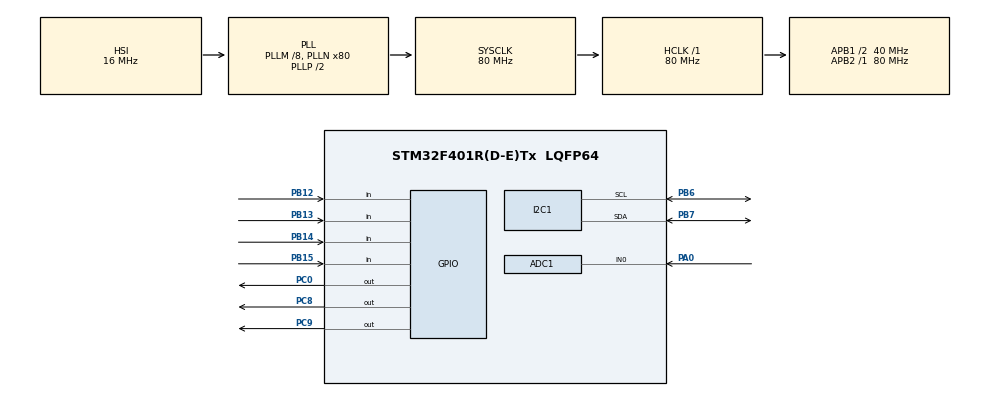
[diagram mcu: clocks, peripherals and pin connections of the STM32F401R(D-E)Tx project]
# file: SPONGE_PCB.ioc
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ADC1.Channel-1\#ChannelRegularConversion=ADC_CHANNEL_0
ADC1.NbrOfConversionFlag=1
ADC1.Rank-1\#ChannelRegularConversion=1
ADC1.SamplingTime-1\#ChannelRegularConversion=ADC_SAMPLETIME_3CYCLES
ADC1.master=1
I2C1.I2C_Mode=I2C_Fast
I2C1.NoStretchMode=I2C_NOSTRETCH_DISABLE
I2C1.OwnAddress=0x05
Mcu.Family=STM32F4
Mcu.Name=STM32F401R(D-E)Tx
Mcu.Package=LQFP64
NVIC.I2C1_ER_IRQn=true\:0\:0\:false\:false\:true\:true\:true\:true
NVIC.I2C1_EV_IRQn=true\:0\:0\:false\:false\:true\:true\:true\:true
NVIC.PriorityGroup=NVIC_PRIORITYGROUP_4
PA0-WKUP.Signal=ADCx_IN0
PA10.Signal=USART1_RX
PA13.Mode=Serial_Wire
PA13.Signal=SYS_JTMS-SWDIO
PA14.Mode=Serial_Wire
PA14.Signal=SYS_JTCK-SWCLK
PA9.Signal=USART1_TX
PB12.GPIO_PuPd=GPIO_PULLDOWN
PB12.Signal=GPIO_Input
PB13.GPIO_PuPd=GPIO_PULLDOWN
PB13.Signal=GPIO_Input
PB14.GPIO_PuPd=GPIO_PULLDOWN
PB14.Signal=GPIO_Input
PB15.GPIO_PuPd=GPIO_PULLDOWN
PB15.Signal=GPIO_Input
PB6.Mode=I2C
PB6.Signal=I2C1_SCL
PB7.Mode=I2C
PB7.Signal=I2C1_SDA
PC0.Signal=GPIO_Output
PC8.Signal=GPIO_Output
PC9.Signal=GPIO_Output
ProjectManager.HeapSize=0x200
ProjectManager.StackSize=0x400
ProjectManager.TargetToolchain=STM32CubeIDE
RCC.48MHZClocksFreq_Value=40000000
RCC.AHBFreq_Value=80000000
RCC.APB1CLKDivider=RCC_HCLK_DIV2
RCC.APB1Freq_Value=40000000
RCC.APB1TimFreq_Value=80000000
RCC.APB2Freq_Value=80000000
RCC.APB2TimFreq_Value=80000000
RCC.CortexFreq_Value=80000000
RCC.HCLKFreq_Value=80000000
RCC.HSE_VALUE=25000000
RCC.HSI_VALUE=16000000
RCC.LSE_VALUE=32768
RCC.PLLM=8
RCC.PLLN=80
RCC.SYSCLKFreq_VALUE=80000000
RCC.SYSCLKSource=RCC_SYSCLKSOURCE_PLLCLK
RCC.VCOOutputFreq_Value=160000000
SH.ADCx_IN0.0=ADC1_IN0,IN0
board=custom

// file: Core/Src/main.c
/* USER CODE BEGIN Header */
/**
  ******************************************************************************
  * @file           : main.c
  * @brief          : Main program body
  ******************************************************************************
  * @attention
  *
  * Copyright (c) 2023 STMicroelectronics.
  * All rights reserved.
  *
  * This software is licensed under terms that can be found in the LICENSE file
  * in the root directory of this software component.
  * If no LICENSE file comes with this software, it is provided AS-IS.
  *
  ******************************************************************************
  */
/* USER CODE END Header */
#include "main.h"

/* USER CODE BEGIN Includes */
#include "i2c/i2c_slave.h"
/* USER CODE END Includes */

ADC_HandleTypeDef hadc1;

I2C_HandleTypeDef hi2c1;

void SystemClock_Config(void);
static void MX_GPIO_Init(void);
static void MX_ADC1_Init(void);
static void MX_I2C1_Init(void);
/* USER CODE BEGIN PFP */

void i2c_rx_callback(uint8_t* buf, uint8_t num_bytes);
/* USER CODE END PFP */

/* USER CODE BEGIN 0 */
I2C_Slave i2c;
uint8_t addr_bits[4] = {0};
uint16_t adc_value;
/* USER CODE END 0 */

int main(void)
{

  /* MCU Configuration--------------------------------------------------------*/

  /* Reset of all peripherals, Initializes the Flash interface and the Systick. */
  HAL_Init();

  /* Configure the system clock */
  SystemClock_Config();

  /* Initialize all configured peripherals */
  MX_GPIO_Init();
  MX_ADC1_Init();
  MX_I2C1_Init();
  /* USER CODE BEGIN 2 */
  // read i2c address pins
  addr_bits[0]= HAL_GPIO_ReadPin(GPIOB,GPIO_PIN_12);
  addr_bits[1]= HAL_GPIO_ReadPin(GPIOB,GPIO_PIN_13);
  addr_bits[2]= HAL_GPIO_ReadPin(GPIOB,GPIO_PIN_14);
  addr_bits[3]= HAL_GPIO_ReadPin(GPIOB,GPIO_PIN_15);
  //set address
  i2c.address = (addr_bits[3]<<3) + (addr_bits[2]<<2) + (addr_bits[1]<<1) + (addr_bits[0]);
  i2c.rxCallback = i2c_rx_callback;
  i2c.hi2c = &hi2c1;
  //initialize and start i2c
  i2c_slave_init(&i2c);
  i2c_slave_start(&i2c);

  /* USER CODE END 2 */

  /* Infinite loop */
  /* USER CODE BEGIN WHILE */
  while (1)
  {
	  HAL_ADC_Start(&hadc1); // start ADC
	  HAL_ADC_PollForConversion(&hadc1, 100); //Wait till ADC converted value
	  adc_value = HAL_ADC_GetValue(&hadc1); // store value
	  HAL_ADC_Stop(&hadc1); //stop ADC

	  i2c.sendBuffer[0]= adc_value & 0xFF; //buffer lower lower byte
	  i2c.sendBuffer[1]= adc_value >> 8; //buffer upper byte

	  //i2c.sendBuffer[0]= 5; //buffer lower lower byte
	  //i2c.sendBuffer[1]= 6; //buffer upper byte

	  //HAL_Delay(100);

    /* USER CODE END WHILE */

  }
}

void SystemClock_Config(void)
{
  RCC_OscInitTypeDef RCC_OscInitStruct = {0};
  RCC_ClkInitTypeDef RCC_ClkInitStruct = {0};

  /** Configure the main internal regulator output voltage
  */
  __HAL_RCC_PWR_CLK_ENABLE();
  __HAL_PWR_VOLTAGESCALING_CONFIG(PWR_REGULATOR_VOLTAGE_SCALE2);

  /** Initializes the RCC Oscillators according to the specified parameters
  * in the RCC_OscInitTypeDef structure.
  */
  RCC_OscInitStruct.OscillatorType = RCC_OSCILLATORTYPE_HSI;
  RCC_OscInitStruct.HSIState = RCC_HSI_ON;
  RCC_OscInitStruct.HSICalibrationValue = RCC_HSICALIBRATION_DEFAULT;
  RCC_OscInitStruct.PLL.PLLState = RCC_PLL_ON;
  RCC_OscInitStruct.PLL.PLLSource = RCC_PLLSOURCE_HSI;
  RCC_OscInitStruct.PLL.PLLM = 8;
  RCC_OscInitStruct.PLL.PLLN = 80;
  RCC_OscInitStruct.PLL.PLLP = RCC_PLLP_DIV2;
  RCC_OscInitStruct.PLL.PLLQ = 4;
  if (HAL_RCC_OscConfig(&RCC_OscInitStruct) != HAL_OK)
  {
    Error_Handler();
  }

  /** Initializes the CPU, AHB and APB buses clocks
  */
  RCC_ClkInitStruct.ClockType = RCC_CLOCKTYPE_HCLK|RCC_CLOCKTYPE_SYSCLK
                              |RCC_CLOCKTYPE_PCLK1|RCC_CLOCKTYPE_PCLK2;
  RCC_ClkInitStruct.SYSCLKSource = RCC_SYSCLKSOURCE_PLLCLK;
  RCC_ClkInitStruct.AHBCLKDivider = RCC_SYSCLK_DIV1;
  RCC_ClkInitStruct.APB1CLKDivider = RCC_HCLK_DIV2;
  RCC_ClkInitStruct.APB2CLKDivider = RCC_HCLK_DIV1;

  if (HAL_RCC_ClockConfig(&RCC_ClkInitStruct, FLASH_LATENCY_2) != HAL_OK)
  {
    Error_Handler();
  }
}

static void MX_ADC1_Init(void)
{

  ADC_ChannelConfTypeDef sConfig = {0};

  /** Configure the global features of the ADC (Clock, Resolution, Data Alignment and number of conversion)
  */
  hadc1.Instance = ADC1;
  hadc1.Init.ClockPrescaler = ADC_CLOCK_SYNC_PCLK_DIV4;
  hadc1.Init.Resolution = ADC_RESOLUTION_12B;
  hadc1.Init.ScanConvMode = DISABLE;
  hadc1.Init.ContinuousConvMode = DISABLE;
  hadc1.Init.DiscontinuousConvMode = DISABLE;
  hadc1.Init.ExternalTrigConvEdge = ADC_EXTERNALTRIGCONVEDGE_NONE;
  hadc1.Init.ExternalTrigConv = ADC_SOFTWARE_START;
  hadc1.Init.DataAlign = ADC_DATAALIGN_RIGHT;
  hadc1.Init.NbrOfConversion = 1;
  hadc1.Init.DMAContinuousRequests = DISABLE;
  hadc1.Init.EOCSelection = ADC_EOC_SINGLE_CONV;
  if (HAL_ADC_Init(&hadc1) != HAL_OK)
  {
    Error_Handler();
  }

  /** Configure for the selected ADC regular channel its corresponding rank in the sequencer and its sample time.
  */
  sConfig.Channel = ADC_CHANNEL_0;
  sConfig.Rank = 1;
  sConfig.SamplingTime = ADC_SAMPLETIME_3CYCLES;
  if (HAL_ADC_ConfigChannel(&hadc1, &sConfig) != HAL_OK)
  {
    Error_Handler();
  }

}

static void MX_I2C1_Init(void)
{

  hi2c1.Instance = I2C1;
  hi2c1.Init.ClockSpeed = 400000;
  hi2c1.Init.DutyCycle = I2C_DUTYCYCLE_2;
  hi2c1.Init.OwnAddress1 = 10;
  hi2c1.Init.AddressingMode = I2C_ADDRESSINGMODE_7BIT;
  hi2c1.Init.DualAddressMode = I2C_DUALADDRESS_DISABLE;
  hi2c1.Init.OwnAddress2 = 0;
  hi2c1.Init.GeneralCallMode = I2C_GENERALCALL_DISABLE;
  hi2c1.Init.NoStretchMode = I2C_NOSTRETCH_DISABLE;
  if (HAL_I2C_Init(&hi2c1) != HAL_OK)
  {
    Error_Handler();
  }

}

static void MX_GPIO_Init(void)
{
  GPIO_InitTypeDef GPIO_InitStruct = {0};

  /* GPIO Ports Clock Enable */
  __HAL_RCC_GPIOC_CLK_ENABLE();
  __HAL_RCC_GPIOA_CLK_ENABLE();
  __HAL_RCC_GPIOB_CLK_ENABLE();

  /*Configure GPIO pin Output Level */
  HAL_GPIO_WritePin(GPIOC, GPIO_PIN_0|GPIO_PIN_8|GPIO_PIN_9, GPIO_PIN_RESET);

  /*Configure GPIO pins : PC0 PC8 PC9 */
  GPIO_InitStruct.Pin = GPIO_PIN_0|GPIO_PIN_8|GPIO_PIN_9;
  GPIO_InitStruct.Mode = GPIO_MODE_OUTPUT_PP;
  GPIO_InitStruct.Pull = GPIO_NOPULL;
  GPIO_InitStruct.Speed = GPIO_SPEED_FREQ_LOW;
  HAL_GPIO_Init(GPIOC, &GPIO_InitStruct);

  /*Configure GPIO pins : PB12 PB13 PB14 PB15 */
  GPIO_InitStruct.Pin = GPIO_PIN_12|GPIO_PIN_13|GPIO_PIN_14|GPIO_PIN_15;
  GPIO_InitStruct.Mode = GPIO_MODE_INPUT;
  GPIO_InitStruct.Pull = GPIO_PULLDOWN;
  HAL_GPIO_Init(GPIOB, &GPIO_InitStruct);

  /*Configure GPIO pins : PA9 PA10 */
  GPIO_InitStruct.Pin = GPIO_PIN_9|GPIO_PIN_10;
  GPIO_InitStruct.Mode = GPIO_MODE_AF_PP;
  GPIO_InitStruct.Pull = GPIO_NOPULL;
  GPIO_InitStruct.Speed = GPIO_SPEED_FREQ_VERY_HIGH;
  GPIO_InitStruct.Alternate = GPIO_AF7_USART1;
  HAL_GPIO_Init(GPIOA, &GPIO_InitStruct);

}

/* USER CODE BEGIN 4 */
// i2c callback that occurs once the i2c controller sent it's commands.
void i2c_rx_callback(uint8_t* buf, uint8_t num_bytes) {

	uint8_t cmd_v1 = buf[0];
	uint8_t cmd_v2 = buf[1];

	// Control of the valves
	//HAL_GPIO_WritePin(GPIOC, GPIO_PIN_0, cmd_v1); // send to LED for debug purposes
	HAL_GPIO_WritePin(GPIOC, GPIO_PIN_8, cmd_v1); // valve1 open or closed
	HAL_GPIO_WritePin(GPIOC, GPIO_PIN_9, cmd_v2); // valve2 open or closed

}

/* USER CODE END 4 */

void Error_Handler(void)
{
  __disable_irq();
  while (1)
  {
  }
}
